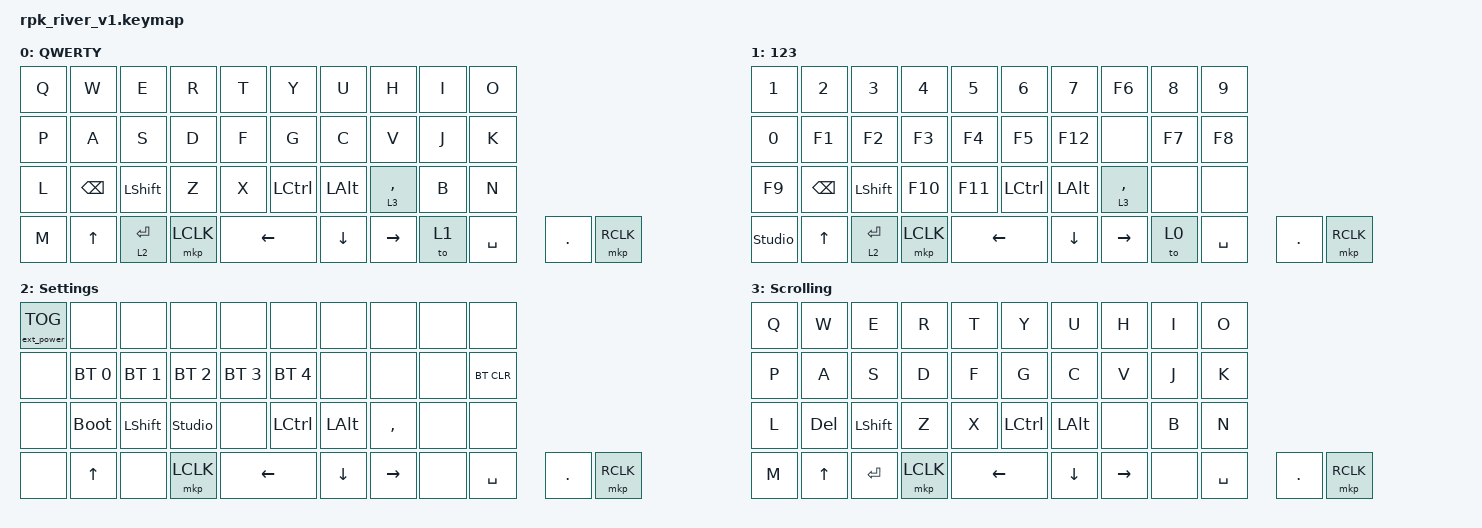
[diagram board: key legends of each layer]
#include <behaviors.dtsi>
#include <dt-bindings/zmk/keys.h>
#include <dt-bindings/zmk/bt.h>
#include <dt-bindings/zmk/pointing.h>
#include <input/processors.dtsi>
#include <dt-bindings/zmk/ext_power.h>

/ {
    // To access ZMK Studio ensure "&studio_unlock" is bound to a key
    keymap {
        compatible = "zmk,keymap";

        default_layer {
            display-name = "QWERTY";
            bindings = <
        //┌─────────────┬─────────────┬─────────────┬─────────────┬─────────────┬─────────────┬─────────────┬─────────────┬─────────────┬─────────────┐
        //│             │             │             │             │             │             │             │             │             │             │
               &kp Q         &kp W         &kp E         &kp R         &kp T         &kp Y         &kp U         &kp I         &kp O         &kp P
        //│             │             │             │             │             │             │             │             │             │             │
        //├─────────────┼─────────────┼─────────────┼─────────────┼─────────────┼─────────────┼─────────────┼─────────────┼─────────────┼─────────────┤
        //│             │             │             │             │             │             │             │             │             │             │
               &kp A         &kp S         &kp D         &kp F         &kp G         &kp H         &kp J         &kp K         &kp L       &kp BSPC
        //│             │             │             │             │             │             │             │             │             │             │
        //├─────────────┼─────────────┼─────────────┼─────────────┼─────────────┼─────────────┼─────────────┼─────────────┼─────────────┼─────────────┤
        //│             │             │             │             │             │             │             │             │             │             │
             &kp LSHFT       &kp Z         &kp X         &kp C         &kp V         &kp B         &kp N         &kp M        &kp UP      &lt 2 ENTER 
        //│             │             │             │             │             │             │             │             │             │             │
        //├─────────────┼─────────────┼─────────────┼─────────────┼─────────────┴─────────────┼─────────────┼─────────────┼─────────────┼─────────────┤    ┌─────────────┬─────────────┐
        //│             │             │             │             │                           │             │             │             │             │    │             │             │
             &mkp LCLK     &kp LCTRL     &kp LALT     &lt 3 COMMA           &kp SPACE             &kp DOT      &kp LEFT       &kp DOWN     &kp RIGHT            &to 1       &mkp RCLK
        //│             │             │             │             │                           │             │             │             │             │    │             │             │
        //└─────────────┴─────────────┴─────────────┴─────────────┴───────────────────────────┴─────────────┴─────────────┴─────────────┴─────────────┘    └─────────────┴─────────────┘
            >;
        };

        layer_1 { 
            display-name = "123";
            bindings = <
        //┌─────────────┬─────────────┬─────────────┬─────────────┬─────────────┬─────────────┬─────────────┬─────────────┬─────────────┬─────────────┐
        //│             │             │             │             │             │             │             │             │             │             │
               &kp N1        &kp N2        &kp N3        &kp N4        &kp N5        &kp N6       &kp N7        &kp N8        &kp N9        &kp N0
        //│             │             │             │             │             │             │             │             │             │             │
        //├─────────────┼─────────────┼─────────────┼─────────────┼─────────────┼─────────────┼─────────────┼─────────────┼─────────────┼─────────────┤
        //│             │             │             │             │             │             │             │             │             │             │
               &kp F1        &kp F2        &kp F3        &kp F4        &kp F5        &kp F6       &kp F7        &kp F8        &kp F9       &kp BSPC
        //│             │             │             │             │             │             │             │             │             │             │
        //├─────────────┼─────────────┼─────────────┼─────────────┼─────────────┼─────────────┼─────────────┼─────────────┼─────────────┼─────────────┤
        //│             │             │             │             │             │             │             │             │             │             │
             &kp LSHFT       &kp F10       &kp F11       &kp F12       &none         &none        &none     &studio_unlock    &kp UP      &lt 2 ENTER 
        //│             │             │             │             │             │             │             │             │             │             │
        //├─────────────┼─────────────┼─────────────┼─────────────┼─────────────┴─────────────┼─────────────┼─────────────┼─────────────┼─────────────┤    ┌─────────────┬─────────────┐
        //│             │             │             │             │                           │             │             │             │             │    │             │             │
             &mkp LCLK     &kp LCTRL     &kp LALT     &lt 3 COMMA           &kp SPACE             &kp DOT      &kp LEFT       &kp DOWN     &kp RIGHT            &to 0       &mkp RCLK
        //│             │             │             │             │                           │             │             │             │             │    │             │             │
        //└─────────────┴─────────────┴─────────────┴─────────────┴───────────────────────────┴─────────────┴─────────────┴─────────────┴─────────────┘    └─────────────┴─────────────┘
            >;
        };

        layer_2 { 
            display-name = "Settings";
            bindings = <
        //┌─────────────┬─────────────┬─────────────┬─────────────┬─────────────┬─────────────┬─────────────┬─────────────┬─────────────┬─────────────┐
        //│             │             │             │             │             │             │             │             │             │             │
         &ext_power EP_TOG   &none         &none         &none         &none         &none         &none         &none         &none         &none
        //│             │             │             │             │             │             │             │             │             │             │
        //├─────────────┼─────────────┼─────────────┼─────────────┼─────────────┼─────────────┼─────────────┼─────────────┼─────────────┼─────────────┤
        //│             │             │             │             │             │             │             │             │             │             │
           &bt BT_SEL 0  &bt BT_SEL 1  &bt BT_SEL 2  &bt BT_SEL 3  &bt BT_SEL 4      &none         &none      &bt BT_CLR       &none      &bootloader
        //│             │             │             │             │             │             │             │             │             │             │
        //├─────────────┼─────────────┼─────────────┼─────────────┼─────────────┼─────────────┼─────────────┼─────────────┼─────────────┼─────────────┤
        //│             │             │             │             │             │             │             │             │             │             │
             &kp LSHFT   &studio_unlock    &none         &none         &none         &none         &none         &none         &kp UP        &none
        //│             │             │             │             │             │             │             │             │             │             │
        //├─────────────┼─────────────┼─────────────┼─────────────┼─────────────┴─────────────┼─────────────┼─────────────┼─────────────┼─────────────┤    ┌─────────────┬─────────────┐
        //│             │             │             │             │                           │             │             │             │             │    │             │             │ 
             &mkp LCLK     &kp LCTRL     &kp LALT      &kp COMMA            &kp SPACE             &kp DOT      &kp LEFT       &kp DOWN     &kp RIGHT            &none       &mkp RCLK
        //│             │             │             │             │                           │             │             │             │             │    │             │             │
        //└─────────────┴─────────────┴─────────────┴─────────────┴───────────────────────────┴─────────────┴─────────────┴─────────────┴─────────────┘    └─────────────┴─────────────┘
            >;
        };

        layer_3 {
            display-name = "Scrolling";
            bindings = <
        //┌─────────────┬─────────────┬─────────────┬─────────────┬─────────────┬─────────────┬─────────────┬─────────────┬─────────────┬─────────────┐
        //│             │             │             │             │             │             │             │             │             │             │
               &kp Q         &kp W         &kp E         &kp R         &kp T         &kp Y         &kp U         &kp I         &kp O         &kp P
        //│             │             │             │             │             │             │             │             │             │             │
        //├─────────────┼─────────────┼─────────────┼─────────────┼─────────────┼─────────────┼─────────────┼─────────────┼─────────────┼─────────────┤
        //│             │             │             │             │             │             │             │             │             │             │
               &kp A         &kp S         &kp D         &kp F         &kp G         &kp H         &kp J         &kp K         &kp L       &kp DEL
        //│             │             │             │             │             │             │             │             │             │             │
        //├─────────────┼─────────────┼─────────────┼─────────────┼─────────────┼─────────────┼─────────────┼─────────────┼─────────────┼─────────────┤
        //│             │             │             │             │             │             │             │             │             │             │
             &kp LSHFT       &kp Z         &kp X         &kp C         &kp V         &kp B         &kp N         &kp M        &kp UP       &kp ENTER 
        //│             │             │             │             │             │             │             │             │             │             │
        //├─────────────┼─────────────┼─────────────┼─────────────┼─────────────┴─────────────┼─────────────┼─────────────┼─────────────┼─────────────┤    ┌─────────────┬─────────────┐
        //│             │             │             │             │                           │             │             │             │             │    │             │             │
             &mkp LCLK     &kp LCTRL     &kp LALT        &none              &kp SPACE             &kp DOT      &kp LEFT       &kp DOWN     &kp RIGHT           &none        &mkp RCLK
        //│             │             │             │             │                           │             │             │             │             │    │             │             │
        //└─────────────┴─────────────┴─────────────┴─────────────┴───────────────────────────┴─────────────┴─────────────┴─────────────┴─────────────┘    └─────────────┴─────────────┘
            >;
        };

        extra_1 {
            status = "reserved";
        };

        extra_2 {
            status = "reserved";
        };

        extra_3 {
            status = "reserved";
        };

        extra_4 {
            status = "reserved";
        };

        extra_5 {
            status = "reserved";
        };
    };
};
